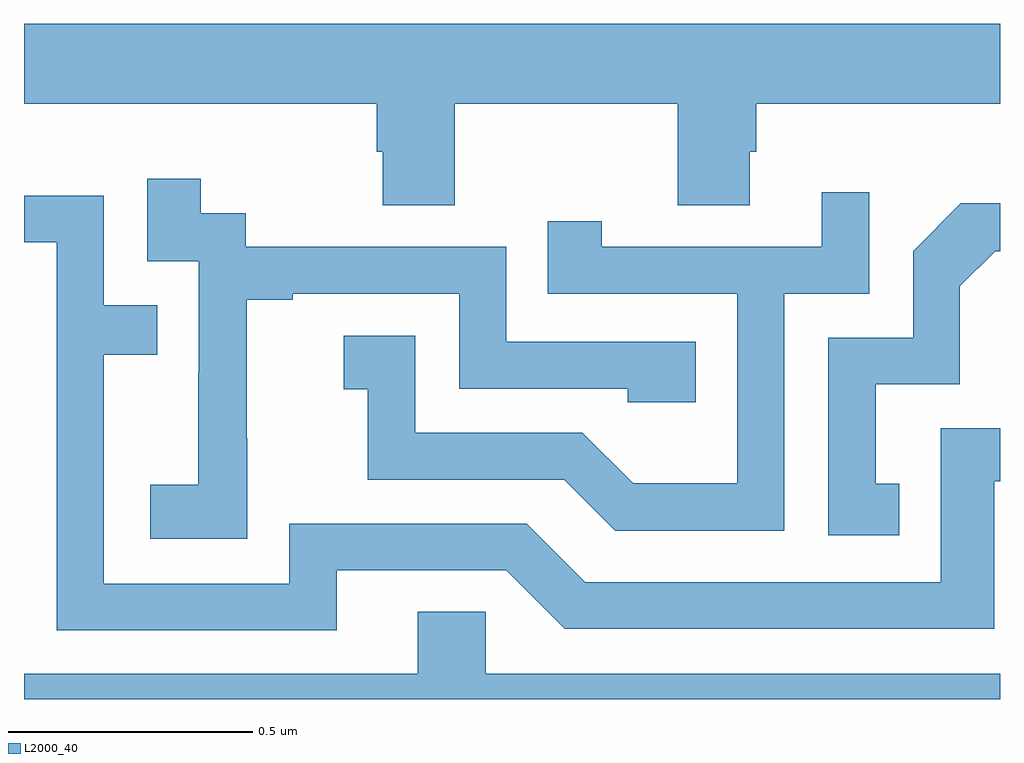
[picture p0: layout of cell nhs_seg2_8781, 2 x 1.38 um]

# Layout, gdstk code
import gdstk
lib = gdstk.Library(unit=1e-6, precision=1e-09)
def P(c, l, *ps):  # polygons
    for p in ps: c.add(gdstk.Polygon(p, *l))
L2000_40 = (2000, 40)

nhs_seg2_8781 = lib.new_cell('nhs_seg2_8781')
P(nhs_seg2_8781, L2000_40, [(221.883,597.02),(222.34,597.02),(222.34,596.812),(222.487,596.812),(222.487,596.922),(222.5,596.922),(222.5,597.02),(223,597.02),(223,597.184),(221,597.184),(221,597.02),(221.723,597.02),(221.723,596.922),(221.735,596.922),(221.735,596.812),(221.883,596.812)],
  [(221.457,596.335),(221.456,596.335),(221.456,596.619),(221.551,596.619),(221.551,596.631),(221.892,596.631),(221.892,596.436),(222.237,596.436),(222.237,596.409),(222.377,596.409),(222.377,596.532),(221.988,596.532),(221.988,596.727),(221.454,596.727),(221.454,596.796),(221.362,596.796),(221.362,596.866),(221.253,596.866),(221.253,596.697),(221.358,596.697),(221.358,596.468),(221.357,596.468),(221.357,596.239),(221.259,596.239),(221.259,596.129),(221.457,596.129)],
  [(222.558,596.631),(222.732,596.631),(222.732,596.839),(222.635,596.839),(222.635,596.727),(222.184,596.727),(222.184,596.779),(222.073,596.779),(222.073,596.631),(222.462,596.631),(222.462,596.242),(222.248,596.242),(222.144,596.346),(221.802,596.346),(221.802,596.545),(221.655,596.545),(221.655,596.435),(221.704,596.435),(221.704,596.25),(222.107,596.25),(222.212,596.145),(222.558,596.145)],
  [(221.641,596.064),(221.988,596.064),(222.108,595.944),(222.988,595.944),(222.988,596.247),(223,596.247),(223,596.355),(222.879,596.355),(222.879,596.04),(222.15,596.04),(222.03,596.16),(221.544,596.16),(221.544,596.037),(221.163,596.037),(221.163,596.506),(221.273,596.506),(221.273,596.607),(221.163,596.607),(221.163,596.832),(221,596.832),(221,596.736),(221.067,596.736),(221.067,595.941),(221.641,595.941)],
  [(222.794,596.241),(222.745,596.241),(222.745,596.445),(222.918,596.445),(222.918,596.646),(222.99,596.718),(223,596.718),(223,596.816),(222.92,596.816),(222.822,596.718),(222.822,596.541),(222.648,596.541),(222.648,596.136),(222.794,596.136)],
  [(223,595.852),(221.946,595.852),(221.946,595.979),(221.807,595.979),(221.807,595.852),(221,595.852),(221,595.8),(223,595.8)])

lib.write_gds('nhs_seg2_8781.gds')
